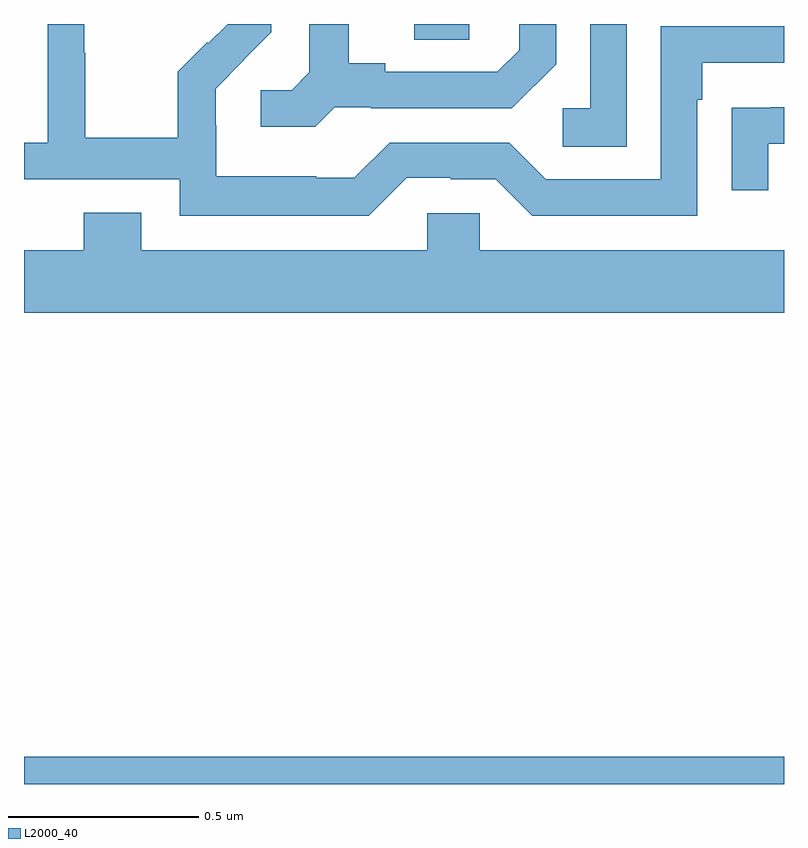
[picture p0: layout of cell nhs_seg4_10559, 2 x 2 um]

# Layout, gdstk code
import gdstk
lib = gdstk.Library(unit=1e-6, precision=1e-09)
def R(c, l, rs):  # rectangles x0, y0, x1, y1
    for r in rs: c.add(gdstk.rectangle(r[:2], r[2:], *l))
def P(c, l, *ps):  # polygons
    for p in ps: c.add(gdstk.Polygon(p, *l))
L2000_40 = (2000, 40)

nhs_seg4_10559 = lib.new_cell('nhs_seg4_10559')
R(nhs_seg4_10559, L2000_40, [(241,808.9,243,808.972), (242.027,810.859,242.172,810.9)])
P(nhs_seg4_10559, L2000_40, [(241.818,810.681),(241.912,810.681),(241.912,810.678),(242.284,810.678),(242.4,810.794),(242.4,810.9),(242.303,810.9),(242.303,810.831),(242.246,810.774),(241.951,810.774),(241.951,810.797),(241.855,810.797),(241.855,810.9),(241.751,810.9),(241.751,810.773),(241.704,810.726),(241.623,810.726),(241.623,810.629),(241.766,810.629)],
  [(242.586,810.9),(242.49,810.9),(242.49,810.678),(242.418,810.678),(242.418,810.577),(242.586,810.577)],
  [(242.007,810.495),(242.123,810.495),(242.123,810.492),(242.241,810.492),(242.337,810.396),(242.772,810.396),(242.772,810.701),(242.785,810.701),(242.785,810.798),(243,810.798),(243,810.894),(242.676,810.894),(242.676,810.492),(242.373,810.492),(242.277,810.588),(241.962,810.588),(241.869,810.495),(241.769,810.495),(241.769,810.499),(241.506,810.499),(241.506,810.633),(241.504,810.633),(241.504,810.73),(241.578,810.804),(241.577,810.805),(241.65,810.878),(241.65,810.9),(241.536,810.9),(241.485,810.849),(241.482,810.852),(241.405,810.775),(241.405,810.601),(241.161,810.601),(241.161,810.824),(241.158,810.824),(241.158,810.9),(241.062,810.9),(241.062,810.588),(241,810.588),(241,810.492),(241.41,810.492),(241.41,810.395),(241.907,810.395)],
  [(242.959,810.585),(243,810.585),(243,810.681),(242.965,810.681),(242.965,810.68),(242.863,810.68),(242.863,810.462),(242.959,810.462)],
  [(241.157,810.403),(241.157,810.304),(241,810.304),(241,810.14),(243,810.14),(243,810.304),(242.199,810.304),(242.199,810.402),(242.061,810.402),(242.061,810.304),(241.309,810.304),(241.309,810.403)])

lib.write_gds('nhs_seg4_10559.gds')
